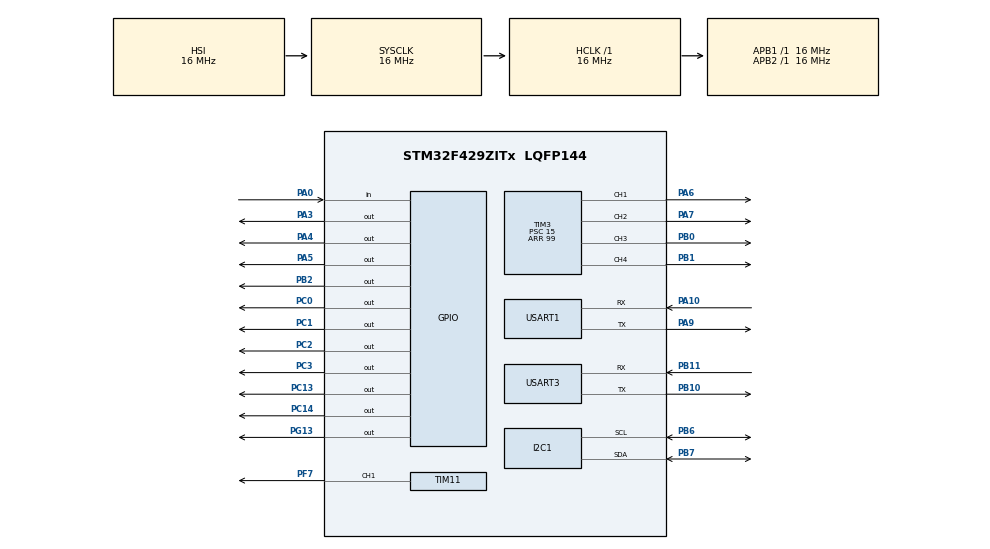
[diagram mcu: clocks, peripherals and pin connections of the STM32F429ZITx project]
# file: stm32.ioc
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Dma.Request0=USART3_RX
Dma.USART3_RX.0.Direction=DMA_PERIPH_TO_MEMORY
Dma.USART3_RX.0.FIFOMode=DMA_FIFOMODE_DISABLE
Dma.USART3_RX.0.Instance=DMA1_Stream1
Dma.USART3_RX.0.MemDataAlignment=DMA_MDATAALIGN_BYTE
Dma.USART3_RX.0.MemInc=DMA_MINC_ENABLE
Dma.USART3_RX.0.Mode=DMA_CIRCULAR
Dma.USART3_RX.0.PeriphDataAlignment=DMA_PDATAALIGN_BYTE
Dma.USART3_RX.0.PeriphInc=DMA_PINC_DISABLE
Dma.USART3_RX.0.Priority=DMA_PRIORITY_LOW
FREERTOS.Tasks01=StateMachine,24,256,StartStateMachineTask,Default,NULL,Dynamic,NULL,NULL
Mcu.Family=STM32F4
Mcu.Name=STM32F429ZITx
Mcu.Package=LQFP144
NVIC.DMA1_Stream1_IRQn=true\:5\:0\:false\:false\:true\:true\:false\:true\:true
NVIC.PriorityGroup=NVIC_PRIORITYGROUP_4
NVIC.TIM1_UP_TIM10_IRQn=true\:15\:0\:false\:false\:true\:false\:false\:true\:true
NVIC.TimeBase=TIM1_UP_TIM10_IRQn
NVIC.TimeBaseIP=TIM1
NVIC.USART3_IRQn=true\:5\:0\:false\:false\:true\:true\:true\:true\:true
PA0/WKUP.Signal=GPIO_Input
PA10.Mode=Asynchronous
PA10.Signal=USART1_RX
PA3.Signal=GPIO_Output
PA4.Signal=GPIO_Output
PA5.Signal=GPIO_Output
PA6.Signal=S_TIM3_CH1
PA7.Signal=S_TIM3_CH2
PA9.Mode=Asynchronous
PA9.Signal=USART1_TX
PB0.Signal=S_TIM3_CH3
PB1.Signal=S_TIM3_CH4
PB10.Mode=Asynchronous
PB10.Signal=USART3_TX
PB11.Mode=Asynchronous
PB11.Signal=USART3_RX
PB2/BOOT1.Signal=GPIO_Output
PB6.Mode=I2C
PB6.Signal=I2C1_SCL
PB7.Mode=I2C
PB7.Signal=I2C1_SDA
PC0.Signal=GPIO_Output
PC1.Signal=GPIO_Output
PC13.Signal=GPIO_Output
PC14/OSC32_IN.Signal=GPIO_Output
PC2.Signal=GPIO_Output
PC3.Signal=GPIO_Output
PF7.Signal=S_TIM11_CH1
PG13.Signal=GPIO_Output
ProjectManager.HeapSize=0x200
ProjectManager.StackSize=0x400
ProjectManager.TargetToolchain=CMake
RCC.AHBFreq_Value=16000000
RCC.APB1Freq_Value=16000000
RCC.APB2Freq_Value=16000000
RCC.CortexFreq_Value=16000000
RCC.HSE_VALUE=25000000
RCC.HSI_VALUE=16000000
RCC.LSE_VALUE=32768
RCC.SYSCLKFreq_VALUE=16000000
RCC.VCOOutputFreq_Value=192000000
SH.S_TIM11_CH1.0=TIM11_CH1,PWM Generation1 CH1
SH.S_TIM3_CH1.0=TIM3_CH1,PWM Generation1 CH1
SH.S_TIM3_CH2.0=TIM3_CH2,PWM Generation2 CH2
SH.S_TIM3_CH3.0=TIM3_CH3,PWM Generation3 CH3
SH.S_TIM3_CH4.0=TIM3_CH4,PWM Generation4 CH4
TIM11.AutoReloadPreload=TIM_AUTORELOAD_PRELOAD_ENABLE
TIM11.Channel=TIM_CHANNEL_1
TIM11.Period=19999
TIM11.Prescaler=15
TIM11.Pulse=1500
TIM3.AutoReloadPreload=TIM_AUTORELOAD_PRELOAD_ENABLE
TIM3.Channel-PWM\ Generation1\ CH1=TIM_CHANNEL_1
TIM3.Channel-PWM\ Generation2\ CH2=TIM_CHANNEL_2
TIM3.Channel-PWM\ Generation3\ CH3=TIM_CHANNEL_3
TIM3.Channel-PWM\ Generation4\ CH4=TIM_CHANNEL_4
TIM3.Period=99
TIM3.Prescaler=15
USART1.VirtualMode=VM_ASYNC
USART3.VirtualMode=VM_ASYNC
VP_FREERTOS_VS_CMSIS_V2.Mode=CMSIS_V2
VP_SYS_VS_tim1.Mode=TIM1
VP_TIM11_VS_ClockSourceINT.Mode=Enable_Timer
board=custom

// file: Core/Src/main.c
/* USER CODE BEGIN Header */
/**
  ******************************************************************************
  * @file           : main.c
  * @brief          : Main program body
  ******************************************************************************
  * @attention
  *
  * Copyright (c) 2026 STMicroelectronics.
  * All rights reserved.
  *
  * This software is licensed under terms that can be found in the LICENSE file
  * in the root directory of this software component.
  * If no LICENSE file comes with this software, it is provided AS-IS.
  *
  ******************************************************************************
  */
/* USER CODE END Header */
#include "main.h"
#include "cmsis_os.h"

/* USER CODE BEGIN Includes */
#include "include/led.h"
#include "include/logger.h"
#include "include/uart_config.h"
/* USER CODE END Includes */

I2C_HandleTypeDef hi2c1;

TIM_HandleTypeDef htim3;
TIM_HandleTypeDef htim11;

UART_HandleTypeDef huart1;
UART_HandleTypeDef huart3;
DMA_HandleTypeDef hdma_usart3_rx;

/* Definitions for StateMachine */
osThreadId_t StateMachineHandle;
const osThreadAttr_t StateMachine_attributes = {
  .name = "StateMachine",
  .stack_size = 512 * 4,
  .priority = (osPriority_t) osPriorityNormal,
};
/* USER CODE BEGIN PV */
osThreadId_t UartTaskHandle;
const osThreadAttr_t UartTask_attr = {
  .name = "UARTTask",
  .stack_size = 512 * 4,
  .priority = (osPriority_t) osPriorityNormal,
};
osThreadId_t GyroTaskHandle;
const osThreadAttr_t GyroTask_attr = {
  .name = "GyroTask",
  .stack_size = 1024 * 4,
  .priority = (osPriority_t) osPriorityNormal,
};
osThreadId_t ServoSG90TaskHandle;
const osThreadAttr_t ServoSG90Task_attr = {
  .name = "ServoSG90Task",
  .stack_size = 256 * 4,
  .priority = (osPriority_t) osPriorityNormal,
};
// #define UART_RX_BUF_SIZE 64
uint8_t uart3_rx_buf[UART_RX_BUF_SIZE];
osMessageQueueId_t uartRawQueueHandle;
osMessageQueueId_t uartCmdQueueHandle;
/* USER CODE END PV */

void SystemClock_Config(void);
static void MX_GPIO_Init(void);
static void MX_DMA_Init(void);
static void MX_USART1_UART_Init(void);
static void MX_TIM3_Init(void);
static void MX_USART3_UART_Init(void);
static void MX_I2C1_Init(void);
static void MX_TIM11_Init(void);
void StartStateMachineTask(void *argument);

/* USER CODE BEGIN PFP */
extern void UartTask(void* argument);
extern void GyroTask(void* argument);
extern void ServoSG90Task(void* argument);

extern void logger_init(void);
extern void uart_manager_init(void);
/* USER CODE END PFP */

int main(void)
{

  /* MCU Configuration--------------------------------------------------------*/

  /* Reset of all peripherals, Initializes the Flash interface and the Systick. */
  HAL_Init();

  /* Configure the system clock */
  SystemClock_Config();

  /* Initialize all configured peripherals */
  MX_GPIO_Init();
  MX_DMA_Init();
  MX_USART1_UART_Init();
  MX_TIM3_Init();
  MX_USART3_UART_Init();
  MX_I2C1_Init();
  MX_TIM11_Init();
  /* USER CODE BEGIN 2 */

  // Запускаємо DMA прийом на USART3
  HAL_UART_Receive_DMA(&huart3, uart3_rx_buf, UART_RX_BUF_SIZE);

  // Вмикаємо IDLE interrupt
  __HAL_UART_ENABLE_IT(&huart3, UART_IT_IDLE);
  /* USER CODE END 2 */

  /* Init scheduler */
  osKernelInitialize();

  /* USER CODE BEGIN RTOS_MUTEX */
  /* add mutexes, ... */
  logger_init();
  LOG_INFO("TAG", "Hello!");
  uart_manager_init();
  /* USER CODE END RTOS_MUTEX */

  /* USER CODE BEGIN RTOS_QUEUES */
  /* add queues, ... */
  uartRawQueueHandle = osMessageQueueNew(10, sizeof(uint16_t), NULL);
  uartCmdQueueHandle = osMessageQueueNew(32, sizeof(UartCmd), NULL);
  /* USER CODE END RTOS_QUEUES */

  /* Create the thread(s) */
  /* creation of StateMachine */
  StateMachineHandle = osThreadNew(StartStateMachineTask, NULL, &StateMachine_attributes);

  /* USER CODE BEGIN RTOS_THREADS */
  /* add threads, ... */
  UartTaskHandle = osThreadNew(UartTask, NULL, &UartTask_attr);
  GyroTaskHandle = osThreadNew(GyroTask, NULL, &GyroTask_attr);
  ServoSG90TaskHandle = osThreadNew(ServoSG90Task, NULL, &ServoSG90Task_attr);
  /* USER CODE END RTOS_THREADS */

  /* Start scheduler */
  osKernelStart();

  /* We should never get here as control is now taken by the scheduler */

  /* Infinite loop */
  while (1)
  {

    /* USER CODE BEGIN 3 */
    // LED_Toggle();
    // HAL_Delay(500);
  }
  /* USER CODE END 3 */
}

void SystemClock_Config(void)
{
  RCC_OscInitTypeDef RCC_OscInitStruct = {0};
  RCC_ClkInitTypeDef RCC_ClkInitStruct = {0};

  /** Configure the main internal regulator output voltage
  */
  __HAL_RCC_PWR_CLK_ENABLE();
  __HAL_PWR_VOLTAGESCALING_CONFIG(PWR_REGULATOR_VOLTAGE_SCALE3);

  /** Initializes the RCC Oscillators according to the specified parameters
  * in the RCC_OscInitTypeDef structure.
  */
  RCC_OscInitStruct.OscillatorType = RCC_OSCILLATORTYPE_HSI;
  RCC_OscInitStruct.HSIState = RCC_HSI_ON;
  RCC_OscInitStruct.HSICalibrationValue = RCC_HSICALIBRATION_DEFAULT;
  RCC_OscInitStruct.PLL.PLLState = RCC_PLL_NONE;
  if (HAL_RCC_OscConfig(&RCC_OscInitStruct) != HAL_OK)
  {
    Error_Handler();
  }

  /** Initializes the CPU, AHB and APB buses clocks
  */
  RCC_ClkInitStruct.ClockType = RCC_CLOCKTYPE_HCLK|RCC_CLOCKTYPE_SYSCLK
                              |RCC_CLOCKTYPE_PCLK1|RCC_CLOCKTYPE_PCLK2;
  RCC_ClkInitStruct.SYSCLKSource = RCC_SYSCLKSOURCE_HSI;
  RCC_ClkInitStruct.AHBCLKDivider = RCC_SYSCLK_DIV1;
  RCC_ClkInitStruct.APB1CLKDivider = RCC_HCLK_DIV1;
  RCC_ClkInitStruct.APB2CLKDivider = RCC_HCLK_DIV1;

  if (HAL_RCC_ClockConfig(&RCC_ClkInitStruct, FLASH_LATENCY_0) != HAL_OK)
  {
    Error_Handler();
  }
}

static void MX_I2C1_Init(void)
{

  hi2c1.Instance = I2C1;
  hi2c1.Init.ClockSpeed = 100000;
  hi2c1.Init.DutyCycle = I2C_DUTYCYCLE_2;
  hi2c1.Init.OwnAddress1 = 0;
  hi2c1.Init.AddressingMode = I2C_ADDRESSINGMODE_7BIT;
  hi2c1.Init.DualAddressMode = I2C_DUALADDRESS_DISABLE;
  hi2c1.Init.OwnAddress2 = 0;
  hi2c1.Init.GeneralCallMode = I2C_GENERALCALL_DISABLE;
  hi2c1.Init.NoStretchMode = I2C_NOSTRETCH_DISABLE;
  if (HAL_I2C_Init(&hi2c1) != HAL_OK)
  {
    Error_Handler();
  }

  /** Configure Analogue filter
  */
  if (HAL_I2CEx_ConfigAnalogFilter(&hi2c1, I2C_ANALOGFILTER_ENABLE) != HAL_OK)
  {
    Error_Handler();
  }

  /** Configure Digital filter
  */
  if (HAL_I2CEx_ConfigDigitalFilter(&hi2c1, 0) != HAL_OK)
  {
    Error_Handler();
  }

}

static void MX_TIM3_Init(void)
{

  TIM_MasterConfigTypeDef sMasterConfig = {0};
  TIM_OC_InitTypeDef sConfigOC = {0};

  htim3.Instance = TIM3;
  htim3.Init.Prescaler = 15;
  htim3.Init.CounterMode = TIM_COUNTERMODE_UP;
  htim3.Init.Period = 99;
  htim3.Init.ClockDivision = TIM_CLOCKDIVISION_DIV1;
  htim3.Init.AutoReloadPreload = TIM_AUTORELOAD_PRELOAD_ENABLE;
  if (HAL_TIM_PWM_Init(&htim3) != HAL_OK)
  {
    Error_Handler();
  }
  sMasterConfig.MasterOutputTrigger = TIM_TRGO_RESET;
  sMasterConfig.MasterSlaveMode = TIM_MASTERSLAVEMODE_DISABLE;
  if (HAL_TIMEx_MasterConfigSynchronization(&htim3, &sMasterConfig) != HAL_OK)
  {
    Error_Handler();
  }
  sConfigOC.OCMode = TIM_OCMODE_PWM1;
  sConfigOC.Pulse = 0;
  sConfigOC.OCPolarity = TIM_OCPOLARITY_HIGH;
  sConfigOC.OCFastMode = TIM_OCFAST_DISABLE;
  if (HAL_TIM_PWM_ConfigChannel(&htim3, &sConfigOC, TIM_CHANNEL_1) != HAL_OK)
  {
    Error_Handler();
  }
  if (HAL_TIM_PWM_ConfigChannel(&htim3, &sConfigOC, TIM_CHANNEL_2) != HAL_OK)
  {
    Error_Handler();
  }
  if (HAL_TIM_PWM_ConfigChannel(&htim3, &sConfigOC, TIM_CHANNEL_3) != HAL_OK)
  {
    Error_Handler();
  }
  if (HAL_TIM_PWM_ConfigChannel(&htim3, &sConfigOC, TIM_CHANNEL_4) != HAL_OK)
  {
    Error_Handler();
  }
  HAL_TIM_MspPostInit(&htim3);

}

static void MX_TIM11_Init(void)
{

  TIM_OC_InitTypeDef sConfigOC = {0};

  htim11.Instance = TIM11;
  htim11.Init.Prescaler = 15;
  htim11.Init.CounterMode = TIM_COUNTERMODE_UP;
  htim11.Init.Period = 19999;
  htim11.Init.ClockDivision = TIM_CLOCKDIVISION_DIV1;
  htim11.Init.AutoReloadPreload = TIM_AUTORELOAD_PRELOAD_ENABLE;
  if (HAL_TIM_Base_Init(&htim11) != HAL_OK)
  {
    Error_Handler();
  }
  if (HAL_TIM_PWM_Init(&htim11) != HAL_OK)
  {
    Error_Handler();
  }
  sConfigOC.OCMode = TIM_OCMODE_PWM1;
  sConfigOC.Pulse = 1500;
  sConfigOC.OCPolarity = TIM_OCPOLARITY_HIGH;
  sConfigOC.OCFastMode = TIM_OCFAST_DISABLE;
  if (HAL_TIM_PWM_ConfigChannel(&htim11, &sConfigOC, TIM_CHANNEL_1) != HAL_OK)
  {
    Error_Handler();
  }
  HAL_TIM_MspPostInit(&htim11);

}

static void MX_USART1_UART_Init(void)
{

  huart1.Instance = USART1;
  huart1.Init.BaudRate = 115200;
  huart1.Init.WordLength = UART_WORDLENGTH_8B;
  huart1.Init.StopBits = UART_STOPBITS_1;
  huart1.Init.Parity = UART_PARITY_NONE;
  huart1.Init.Mode = UART_MODE_TX_RX;
  huart1.Init.HwFlowCtl = UART_HWCONTROL_NONE;
  huart1.Init.OverSampling = UART_OVERSAMPLING_16;
  if (HAL_UART_Init(&huart1) != HAL_OK)
  {
    Error_Handler();
  }

}

static void MX_USART3_UART_Init(void)
{

  huart3.Instance = USART3;
  huart3.Init.BaudRate = 115200;
  huart3.Init.WordLength = UART_WORDLENGTH_8B;
  huart3.Init.StopBits = UART_STOPBITS_1;
  huart3.Init.Parity = UART_PARITY_NONE;
  huart3.Init.Mode = UART_MODE_TX_RX;
  huart3.Init.HwFlowCtl = UART_HWCONTROL_NONE;
  huart3.Init.OverSampling = UART_OVERSAMPLING_16;
  if (HAL_UART_Init(&huart3) != HAL_OK)
  {
    Error_Handler();
  }

}

static void MX_DMA_Init(void)
{

  /* DMA controller clock enable */
  __HAL_RCC_DMA1_CLK_ENABLE();

  /* DMA interrupt init */
  /* DMA1_Stream1_IRQn interrupt configuration */
  HAL_NVIC_SetPriority(DMA1_Stream1_IRQn, 5, 0);
  HAL_NVIC_EnableIRQ(DMA1_Stream1_IRQn);

}

static void MX_GPIO_Init(void)
{
  GPIO_InitTypeDef GPIO_InitStruct = {0};

  /* GPIO Ports Clock Enable */
  __HAL_RCC_GPIOC_CLK_ENABLE();
  __HAL_RCC_GPIOF_CLK_ENABLE();
  __HAL_RCC_GPIOA_CLK_ENABLE();
  __HAL_RCC_GPIOB_CLK_ENABLE();
  __HAL_RCC_GPIOG_CLK_ENABLE();

  /*Configure GPIO pin Output Level */
  HAL_GPIO_WritePin(GPIOC, GPIO_PIN_13|GPIO_PIN_14|GPIO_PIN_0|GPIO_PIN_1
                          |GPIO_PIN_2|GPIO_PIN_3, GPIO_PIN_RESET);

  /*Configure GPIO pin Output Level */
  HAL_GPIO_WritePin(GPIOA, GPIO_PIN_3|GPIO_PIN_4|GPIO_PIN_5, GPIO_PIN_RESET);

  /*Configure GPIO pin Output Level */
  HAL_GPIO_WritePin(GPIOB, GPIO_PIN_2, GPIO_PIN_RESET);

  /*Configure GPIO pin Output Level */
  HAL_GPIO_WritePin(GPIOG, GPIO_PIN_13, GPIO_PIN_RESET);

  /*Configure GPIO pins : PC13 PC14 PC0 PC1
                           PC2 PC3 */
  GPIO_InitStruct.Pin = GPIO_PIN_13|GPIO_PIN_14|GPIO_PIN_0|GPIO_PIN_1
                          |GPIO_PIN_2|GPIO_PIN_3;
  GPIO_InitStruct.Mode = GPIO_MODE_OUTPUT_PP;
  GPIO_InitStruct.Pull = GPIO_NOPULL;
  GPIO_InitStruct.Speed = GPIO_SPEED_FREQ_LOW;
  HAL_GPIO_Init(GPIOC, &GPIO_InitStruct);

  /*Configure GPIO pin : PA0 */
  GPIO_InitStruct.Pin = GPIO_PIN_0;
  GPIO_InitStruct.Mode = GPIO_MODE_INPUT;
  GPIO_InitStruct.Pull = GPIO_NOPULL;
  HAL_GPIO_Init(GPIOA, &GPIO_InitStruct);

  /*Configure GPIO pins : PA3 PA4 PA5 */
  GPIO_InitStruct.Pin = GPIO_PIN_3|GPIO_PIN_4|GPIO_PIN_5;
  GPIO_InitStruct.Mode = GPIO_MODE_OUTPUT_PP;
  GPIO_InitStruct.Pull = GPIO_NOPULL;
  GPIO_InitStruct.Speed = GPIO_SPEED_FREQ_LOW;
  HAL_GPIO_Init(GPIOA, &GPIO_InitStruct);

  /*Configure GPIO pin : PB2 */
  GPIO_InitStruct.Pin = GPIO_PIN_2;
  GPIO_InitStruct.Mode = GPIO_MODE_OUTPUT_PP;
  GPIO_InitStruct.Pull = GPIO_NOPULL;
  GPIO_InitStruct.Speed = GPIO_SPEED_FREQ_LOW;
  HAL_GPIO_Init(GPIOB, &GPIO_InitStruct);

  /*Configure GPIO pin : PG13 */
  GPIO_InitStruct.Pin = GPIO_PIN_13;
  GPIO_InitStruct.Mode = GPIO_MODE_OUTPUT_PP;
  GPIO_InitStruct.Pull = GPIO_NOPULL;
  GPIO_InitStruct.Speed = GPIO_SPEED_FREQ_LOW;
  HAL_GPIO_Init(GPIOG, &GPIO_InitStruct);

}

void StartStateMachineTask(void *argument)
{
  /* USER CODE BEGIN 5 */
  (void)argument;
  extern void app_main(void);
  app_main();
  /* USER CODE END 5 */
}

void HAL_TIM_PeriodElapsedCallback(TIM_HandleTypeDef *htim)
{
  if (htim->Instance == TIM1)
  {
    HAL_IncTick();
  }
}

void Error_Handler(void)
{
  __disable_irq();
  while (1)
  {
  }
}
